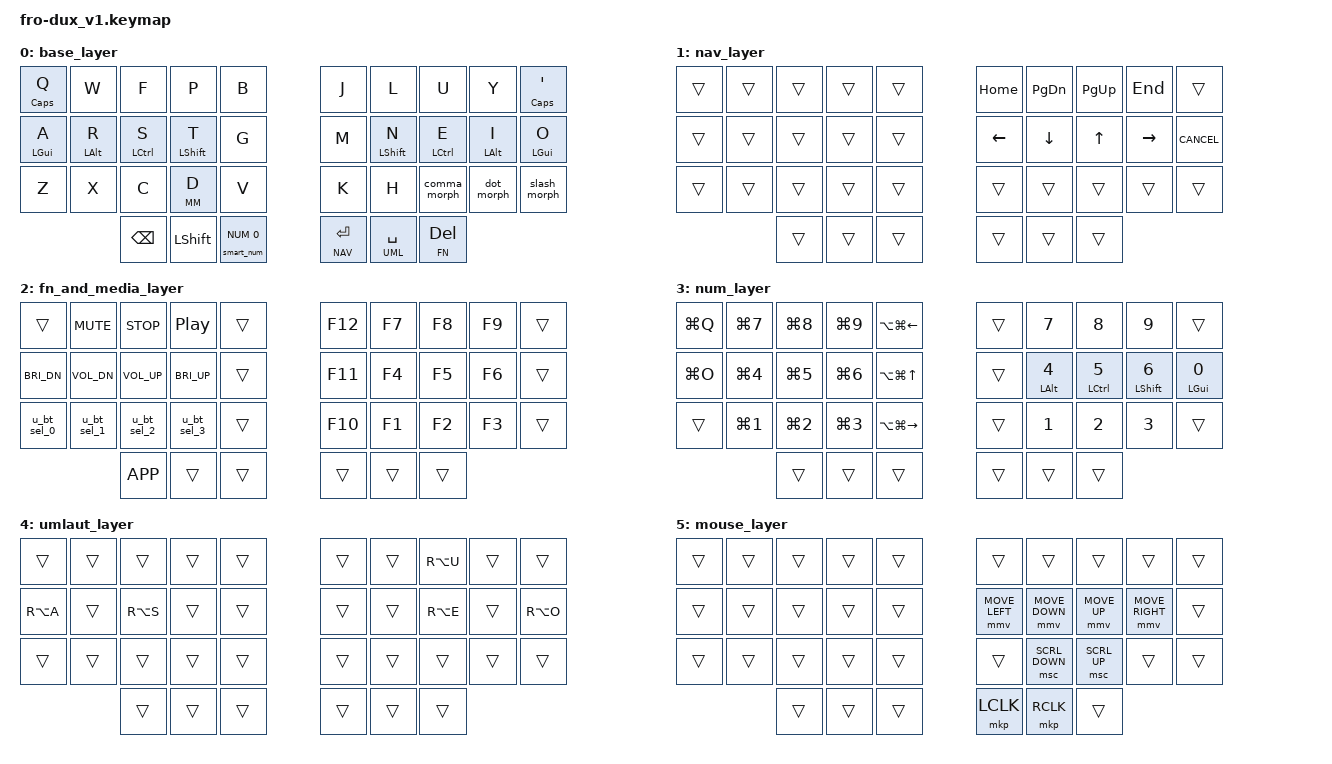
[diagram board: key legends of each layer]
#include <behaviors.dtsi>
#include <dt-bindings/zmk/bt.h>
#include <dt-bindings/zmk/keys.h>

#define ZMK_POINTING_DEFAULT_MOVE_VAL 1100
#define ZMK_POINTING_DEFAULT_SCRL_VAL 40
#include <dt-bindings/zmk/pointing.h> // include mouse emulation
&mmv {
    x-input-code = <INPUT_REL_X>;
    y-input-code = <INPUT_REL_Y>;
    time-to-max-speed-ms = <400>;
    acceleration-exponent = <1>;
};

#include <behaviors/num_word.dtsi> // requires auto-layer module in west.yml

#include "zmk-helpers/helper.h" // requires helper module in west.yml

/* Define layer names */

#define DEF 0
#define NAV 1
#define FN 2
#define NUM 3
#define UML 4
#define MM 5

/* Global settings */

#define QUICK_TAP_MS 170

&sk {  // sticky-key config
    release-after-ms = <900>;  // release after 0.9s
    quick-release;             // no double capitalization when rolling keys
};

&sl {  // sticky-layer config
    ignore-modifiers;          // allow chording sticky mods & layers
};

/* Homerow mods */

#define KEYS_L 0 1 2 3 4 10 11 12 13 14 20 21 22 23 24  // left hand
#define KEYS_R 5 6 7 8 9 15 16 17 18 19 25 26 27 28 29  // right hand
#define THUMBS 30 31 32 33 34 35                        // thumb keys

#define MAKE_HRM(NAME, HOLD, TAP, TRIGGER_POS) \
    ZMK_HOLD_TAP(NAME, \
        flavor = "balanced"; \
        tapping-term-ms = <270>; \
        quick-tap-ms = <QUICK_TAP_MS>; \
        require-prior-idle-ms = <130>; \
        bindings = <HOLD>, <TAP>; \
        hold-trigger-key-positions = <TRIGGER_POS>; \
        hold-trigger-on-release; \
    )

MAKE_HRM(hml, &kp, &kp, KEYS_R THUMBS)  // left-hand HRMs
MAKE_HRM(hmr, &kp, &kp, KEYS_L THUMBS)  // right-hand HRMs

// HRM combo hack - workaround for lack of tap-only combos (ZMK issue #544)
#define ZMK_COMBO_8(NAME, TAP, KEYPOS, LAYERS, COMBO_TERM, COMBO_IDLE, HOLD, SIDE) \
    MAKE_HRM(hm_combo_ ## NAME, &kp, TAP, SIDE THUMBS) \
    ZMK_COMBO_6(NAME, &hm_combo_ ## NAME HOLD 0, KEYPOS, LAYERS, COMBO_TERM, COMBO_IDLE)

/* Combos and leader key sequences */

#include "combos.dtsi"  // must be sourced after HRM-combo hack

/* Num-word */

// tap: num-word | double-tap: sticky num-layer | hold: num-layer
#define SMART_NUM &smart_num NUM 0
ZMK_HOLD_TAP(smart_num,
    flavor = "balanced";
    tapping-term-ms = <200>;
    quick-tap-ms = <QUICK_TAP_MS>;
    bindings = <&mo>, <&num_dance>;
)
ZMK_TAP_DANCE(num_dance,
    tapping-term-ms = <200>;
    bindings = <&num_word NUM>, <&sl NUM>;  // reverse this for sticky-num on single tap
)

/* Additional behaviors */

// reuse basic mod-morph scheme
#define SIMPLE_MORPH(NAME, MOD, BINDING1, BINDING2) \
    ZMK_MOD_MORPH(NAME, \
        mods = <(MOD_L ## MOD|MOD_R ## MOD)>; \
        bindings = <BINDING1>, <BINDING2>; \
    )

/* - used on keymap - */

// tap: comma | shift + tap: !
SIMPLE_MORPH(comma_morph, SFT, &kp COMMA, &kp EXCLAMATION)

// tap: dot | shift + tap: ?
SIMPLE_MORPH(dot_morph, SFT, &kp DOT, &kp QUESTION)

// tap: slash | shift + tap: slash
SIMPLE_MORPH(slash_morph, SFT, &kp SLASH, &kp SLASH)

/ { macros { u_macro_u_bt_sel_0: u_macro_u_bt_sel_0 { compatible = "zmk,behavior-macro"; #binding-cells = <0>; wait-ms = <0>; bindings = <&bt BT_SEL 0 &bt BT_CLR>; }; }; }; / { behaviors { u_bt_sel_0: u_bt_sel_0 { compatible = "zmk,behavior-mod-morph"; #binding-cells = <0>; bindings = <&bt BT_SEL 0>, <&u_macro_u_bt_sel_0>; mods = <(MOD_LSFT|MOD_RSFT)>; }; }; };
/ { macros { u_macro_u_bt_sel_1: u_macro_u_bt_sel_1 { compatible = "zmk,behavior-macro"; #binding-cells = <0>; wait-ms = <0>; bindings = <&bt BT_SEL 1 &bt BT_CLR>; }; }; }; / { behaviors { u_bt_sel_1: u_bt_sel_1 { compatible = "zmk,behavior-mod-morph"; #binding-cells = <0>; bindings = <&bt BT_SEL 1>, <&u_macro_u_bt_sel_1>; mods = <(MOD_LSFT|MOD_RSFT)>; }; }; };
/ { macros { u_macro_u_bt_sel_2: u_macro_u_bt_sel_2 { compatible = "zmk,behavior-macro"; #binding-cells = <0>; wait-ms = <0>; bindings = <&bt BT_SEL 2 &bt BT_CLR>; }; }; }; / { behaviors { u_bt_sel_2: u_bt_sel_2 { compatible = "zmk,behavior-mod-morph"; #binding-cells = <0>; bindings = <&bt BT_SEL 2>, <&u_macro_u_bt_sel_2>; mods = <(MOD_LSFT|MOD_RSFT)>; }; }; };
/ { macros { u_macro_u_bt_sel_3: u_macro_u_bt_sel_3 { compatible = "zmk,behavior-macro"; #binding-cells = <0>; wait-ms = <0>; bindings = <&bt BT_SEL 3 &bt BT_CLR>; }; }; }; / { behaviors { u_bt_sel_3: u_bt_sel_3 { compatible = "zmk,behavior-mod-morph"; #binding-cells = <0>; bindings = <&bt BT_SEL 3>, <&u_macro_u_bt_sel_3>; mods = <(MOD_LSFT|MOD_RSFT)>; }; }; };

/* - used in combos - */

// tap: left/right parenthesis -()- | shft + tap: less-than/greater-than -<>-
SIMPLE_MORPH(lpar_lt, SFT, &kp LPAR, &kp LT)
SIMPLE_MORPH(rpar_gt, SFT, &kp RPAR, &kp GT)

// tap: left/right bracket -[]- | shft + tap: left/right curly -{}-
SIMPLE_MORPH(lbra_cur, SFT, &kp LBKT, &kp LBRC)
SIMPLE_MORPH(rbra_cur, SFT, &kp RBKT, &kp RBRC)

/* Keymap */

/ {
  keymap {
		compatible = "zmk,keymap";

		base_layer {
			bindings = <
                   &hml CAPS Q    &kp W           &kp F           &kp P           &kp B           &kp J           &kp L           &kp U           &kp Y           &hmr CAPS SQT
                   &hml LGUI A    &hml LALT R     &hml LCTRL S    &hml LSHFT T    &kp G           &kp M           &hmr LSHFT N    &hmr LCTRL E    &hmr LALT I     &hmr LGUI O
                   &kp Z          &kp X           &kp C           &lt MM D        &kp V           &kp K           &kp H           &comma_morph    &dot_morph      &slash_morph
				           /* &           & */            &kp BSPC        &kp LSHFT       SMART_NUM       &lt NAV RET     &lt UML SPACE   &lt FN DEL      /* &           & */
			>;
		};

    nav_layer {
      bindings = <
                   &trans         &trans          &trans          &trans          &trans          &kp HOME        &kp PG_DN       &kp PG_UP       &kp END         &trans
                   &trans         &trans          &trans          &trans          &trans          &kp LEFT        &kp DOWN        &kp UP          &kp RIGHT       &kp K_CANCEL
                   &trans         &trans          &trans          &trans          &trans          &trans          &trans          &trans          &trans          &trans
				           /* &           & */            &trans          &trans          &trans          &trans          &trans          &trans          /* &            & */
			>;
    };

    fn_and_media_layer {
      bindings = <
                   &trans         &kp C_MUTE      &kp C_STOP      &kp C_PP        &trans          &kp F12         &kp F7          &kp F8          &kp F9          &trans
                   &kp C_BRI_DN   &kp C_VOL_DN    &kp C_VOL_UP    &kp C_BRI_UP    &trans          &kp F11         &kp F4          &kp F5          &kp F6          &trans
                   &u_bt_sel_0    &u_bt_sel_1     &u_bt_sel_2     &u_bt_sel_3     &trans          &kp F10         &kp F1          &kp F2          &kp F3          &trans
				           /* &           & */            &kp K_APP       &trans          &trans          &trans          &trans          &trans          /* &            & */
			>;
    };

		num_layer {
      bindings = <
                   &kp LG(Q)      &kp LG(N7)      &kp LG(N8)      &kp LG(N9)      &kp LA(LG(LEFT)) &trans         &kp N7          &kp N8          &kp N9          &trans
                   &kp LG(O)      &kp LG(N4)      &kp LG(N5)      &kp LG(N6)      &kp LA(LG(UP))  &trans          &hmr LALT N4    &hmr LCTRL N5   &hmr LSHFT N6   &hmr LGUI N0
                   &trans         &kp LG(N1)      &kp LG(N2)      &kp LG(N3)      &kp LA(LG(RIGHT)) &trans        &kp N1          &kp N2          &kp N3          &trans
				           /* &           & */            &trans          &trans          &trans          &trans          &trans          &trans          /* &            & */
			>;
		};

    umlaut_layer {
			bindings = <
                   &trans         &trans          &trans          &trans          &trans          &trans          &trans          &kp RA(U)       &trans          &trans
                   &kp RA(A)      &trans          &kp RA(S)       &trans          &trans          &trans          &trans          &kp RA(E)       &trans          &kp RA(O)
                   &trans         &trans          &trans          &trans          &trans          &trans          &trans          &trans          &trans          &trans
				           /* &           & */            &trans          &trans          &trans          &trans          &trans          &trans          /* &            & */
			>;
	  };

		mouse_layer {
			bindings = <
                   &trans         &trans          &trans          &trans          &trans          &trans          &trans          &trans          &trans          &trans
                   &trans         &trans          &trans          &trans          &trans          &mmv MOVE_LEFT  &mmv MOVE_DOWN  &mmv MOVE_UP    &mmv MOVE_RIGHT &trans
                   &trans         &trans          &trans          &trans          &trans          &trans          &msc SCRL_DOWN  &msc SCRL_UP    &trans          &trans
				           /* &           & */            &trans          &trans          &trans          &mkp LCLK       &mkp RCLK       &trans          /* &            & */
			>;
	  };
	};
};
